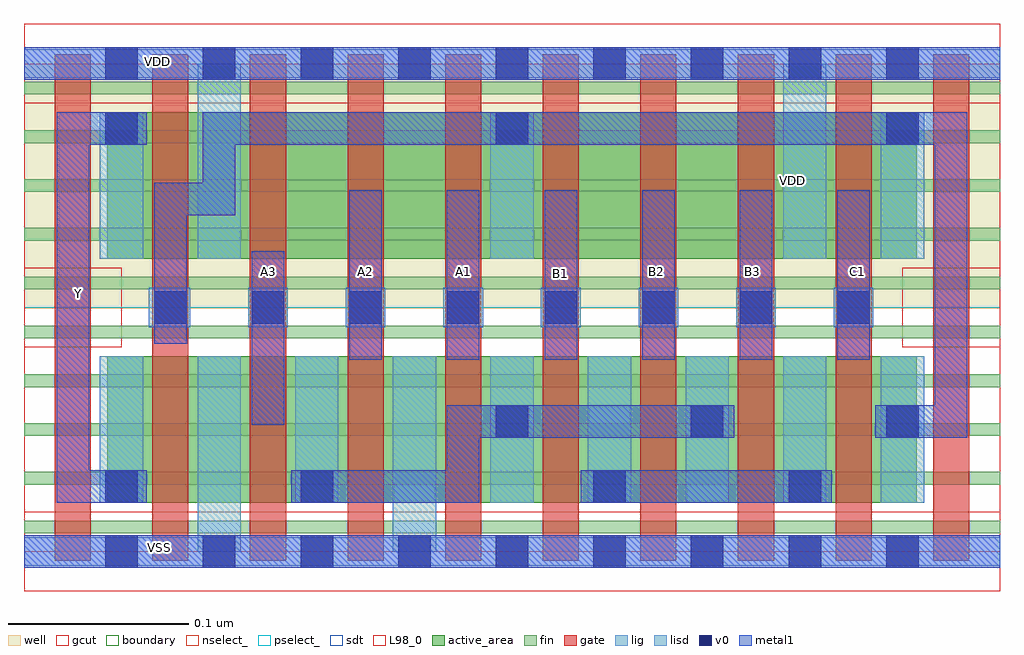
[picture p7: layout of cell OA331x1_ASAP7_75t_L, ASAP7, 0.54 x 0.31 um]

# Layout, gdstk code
import gdstk
lib = gdstk.Library(unit=1e-6, precision=2.5e-10)
def R(c, l, rs):  # rectangles x0, y0, x1, y1
    for r in rs: c.add(gdstk.rectangle(r[:2], r[2:], *l))
def A(c, l, x, y, w, h, nx, ny, dx, dy):  # array of equal rectangles
    R(c, l, [(x+i*dx, y+j*dy, x+i*dx+w, y+j*dy+h) for i in range(nx) for j in range(ny)])
def P(c, l, *ps):  # polygons
    for p in ps: c.add(gdstk.Polygon(p, *l))
well = (1, 0)
fin = (2, 0)
gate = (7, 0)
gcut = (10, 0)
active_area = (11, 0)
nselect_ = (12, 0)
pselect_ = (13, 0)
lig = (16, 0)
lisd = (17, 0)
v0 = (18, 0)
metal1 = (19, 0)
sdt = (88, 0)
L98_0 = (98, 0)
boundary = (100, 0)

oa331x1_asap7_75t_l = lib.new_cell('OA331x1_ASAP7_75t_L')
R(oa331x1_asap7_75t_l, well, [(0,0.135,0.54,0.27)])
A(oa331x1_asap7_75t_l, fin, 0, 0.01, 0.54, 0.007, 1, 10, 0, 0.027)
A(oa331x1_asap7_75t_l, gate, 0.071, -0.005, 0.02, 0.28, 9, 1, 0.054, 0)
R(oa331x1_asap7_75t_l, gate, [(0.017,-0.005,0.037,0.275), (0.071,-0.005,0.091,0.275)])
R(oa331x1_asap7_75t_l, gcut, [(0,-0.022,0.54,0.022), (0,0.113,0.054,0.157), (0.486,0.113,0.54,0.157), (0,0.248,0.54,0.292)])
R(oa331x1_asap7_75t_l, active_area, [(0.046,0.027,0.494,0.108), (0.046,0.162,0.494,0.243)])
R(oa331x1_asap7_75t_l, nselect_, [(0,0,0.54,0.135)])
R(oa331x1_asap7_75t_l, pselect_, [(0,0.135,0.54,0.27)])
A(oa331x1_asap7_75t_l, lig, 0.124, 0.124, 0.022, 0.022, 7, 1, 0.054, 0)
R(oa331x1_asap7_75t_l, lig, [(0,-0.008,0.54,0.008), (0.069,0.124,0.092,0.146), (0,0.262,0.54,0.278)])
A(oa331x1_asap7_75t_l, lisd, 0.042, 0.027, 0.024, 0.081, 3, 1, 0.054, 0)
A(oa331x1_asap7_75t_l, lisd, 0.258, 0.027, 0.024, 0.081, 5, 1, 0.054, 0)
R(oa331x1_asap7_75t_l, lisd, [(0.096,0,0.12,0.108), (0.204,0,0.228,0.108), (0.042,0.162,0.066,0.243), (0.096,0.162,0.12,0.243), (0.096,0.162,0.12,0.27), (0.258,0.162,0.282,0.243), (0.42,0.162,0.444,0.27), (0.474,0.162,0.498,0.243)])
A(oa331x1_asap7_75t_l, v0, 0.099, -0.009, 0.018, 0.018, 8, 2, 0.054, 0.27)
A(oa331x1_asap7_75t_l, v0, 0.261, 0.063, 0.018, 0.018, 3, 1, 0.108, 0)
A(oa331x1_asap7_75t_l, v0, 0.072, 0.126, 0.018, 0.018, 8, 1, 0.054, 0)
A(oa331x1_asap7_75t_l, v0, 0.045, 0.225, 0.018, 0.018, 3, 1, 0.216, 0)
R(oa331x1_asap7_75t_l, v0, [(0.045,-0.009,0.063,0.009), (0.099,-0.009,0.117,0.009), (0.045,0.027,0.063,0.045), (0.153,0.027,0.171,0.045), (0.315,0.027,0.333,0.045), (0.423,0.027,0.441,0.045), (0.045,0.261,0.063,0.279), (0.099,0.261,0.117,0.279)])
A(oa331x1_asap7_75t_l, metal1, 0.18, 0.106, 0.018, 0.094, 6, 1, 0.054, 0)
R(oa331x1_asap7_75t_l, metal1, [(0,-0.009,0.54,0.009), (0.308,0.027,0.447,0.045), (0.126,0.07,0.144,0.166), (0,0.261,0.54,0.279)])
P(oa331x1_asap7_75t_l, metal1, [(0.068,0.045),(0.036,0.045),(0.036,0.225),(0.068,0.225),(0.068,0.243),(0.018,0.243),(0.018,0.027),(0.068,0.027)],
  [(0.393,0.081),(0.234,0.081),(0.234,0.045),(0.148,0.045),(0.148,0.027),(0.252,0.027),(0.252,0.063),(0.393,0.063)],
  [(0.522,0.243),(0.099,0.243),(0.099,0.204),(0.072,0.204),(0.072,0.115),(0.09,0.115),(0.09,0.186),(0.117,0.186),(0.117,0.225),(0.504,0.225),(0.504,0.081),(0.471,0.081),(0.471,0.063),(0.522,0.063)])
A(oa331x1_asap7_75t_l, sdt, 0.096, 0.027, 0.024, 0.081, 8, 1, 0.054, 0)
A(oa331x1_asap7_75t_l, sdt, 0.096, 0.162, 0.024, 0.081, 3, 1, 0.162, 0)
R(oa331x1_asap7_75t_l, sdt, [(0.042,0.027,0.066,0.108), (0.096,0.027,0.12,0.108), (0.042,0.162,0.066,0.243), (0.096,0.162,0.12,0.243), (0.474,0.162,0.498,0.243)])
R(oa331x1_asap7_75t_l, L98_0, [(0,0,0.54,0.27)])
R(oa331x1_asap7_75t_l, boundary, [(0,0,0.54,0.27)])
oa331x1_asap7_75t_l.add(gdstk.Label('VDD', (0.074,0.271), layer=19, texttype=251))
oa331x1_asap7_75t_l.add(gdstk.Label('Y', (0.03,0.143), layer=19, texttype=251))
oa331x1_asap7_75t_l.add(gdstk.Label('VSS', (0.075,0.002), layer=19, texttype=251))
oa331x1_asap7_75t_l.add(gdstk.Label('VDD', (0.074,0.271), layer=19, texttype=251))
oa331x1_asap7_75t_l.add(gdstk.Label('VSS', (0.075,0.002), layer=19, texttype=251))
oa331x1_asap7_75t_l.add(gdstk.Label('C1', (0.461,0.155), layer=19, texttype=251))
oa331x1_asap7_75t_l.add(gdstk.Label('B3', (0.403,0.155), layer=19, texttype=251))
oa331x1_asap7_75t_l.add(gdstk.Label('B2', (0.35,0.155), layer=19, texttype=251))
oa331x1_asap7_75t_l.add(gdstk.Label('B1', (0.297,0.154), layer=19, texttype=251))
oa331x1_asap7_75t_l.add(gdstk.Label('A1', (0.243,0.155), layer=19, texttype=251))
oa331x1_asap7_75t_l.add(gdstk.Label('A2', (0.189,0.155), layer=19, texttype=251))
oa331x1_asap7_75t_l.add(gdstk.Label('A3', (0.135,0.155), layer=19, texttype=251))
oa331x1_asap7_75t_l.add(gdstk.Label('VDD', (0.425,0.205), layer=1, texttype=251))
oa331x1_asap7_75t_l.add(gdstk.Label('VSS', (0.366,-0.046), layer=3, texttype=251))

lib.write_gds('OA331x1_ASAP7_75t_L.gds')
